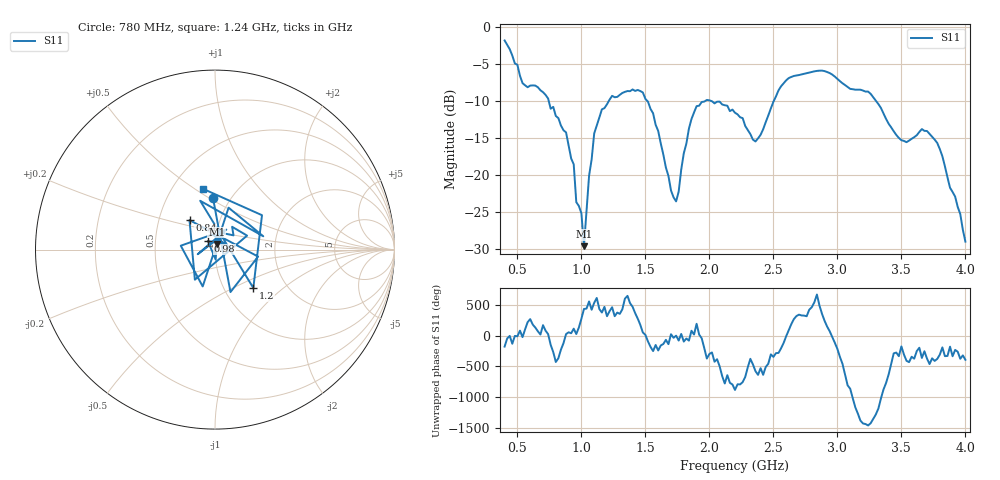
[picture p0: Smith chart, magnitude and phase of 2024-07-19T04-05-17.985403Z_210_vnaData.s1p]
!Created with skrf (http://scikit-rf.org).
# Hz S RI R 50.0
!freq ReS11 ImS11
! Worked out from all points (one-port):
!   181 points, 400 MHz to 4 GHz, reference 50 ohm
!   lowest |S11| = -29.6 dB at 1.02 GHz (marker M1), VSWR 1.07, Z = 50.9 + j3.24 ohm
!   |S11| at or under -10 dB: 745.4 MHz to 1.213 GHz (467.4 MHz wide, 47.7 % of centre); 2.021 GHz to 2.502 GHz (481.1 MHz wide, 21.3 % of centre); 3.304 GHz to end of sweep (the widest 3 of 4)
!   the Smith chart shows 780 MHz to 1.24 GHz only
!   S11 on the Smith chart (normalised r, x): 780 MHz: 0.83, +0.52; 840 MHz: 0.72, +0.25; 980 MHz: 0.92, +0.09; 1.2 GHz: 1.37, -0.64; 1.24 GHz: 0.71, +0.54
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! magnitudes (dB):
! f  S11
! 400 MHz  -1.8
! 540 MHz  -7.5
! 780 MHz  -10.8
! 840 MHz  -13.3
! 860 MHz  -13.9
! 940 MHz  -18.5
! 960 MHz  -23.6
! 980 MHz  -24.1
! 1.02 GHz  -29.6
! 1.06 GHz  -20.0
! 1.1 GHz  -14.3
! 1.2 GHz  -10.4
! 1.24 GHz  -9.3
! 1.3 GHz  -9.1
! 1.48 GHz  -8.8
! 1.6 GHz  -14.0
! 1.7 GHz  -22.0
! 1.76 GHz  -22.2
! 1.84 GHz  -13.7
! 1.9 GHz  -10.7
! 2.2 GHz  -11.5
! 2.36 GHz  -15.4
! 2.66 GHz  -6.6
! 3.1 GHz  -8.3
! 3.24 GHz  -8.7
! 3.56 GHz  -15.3
! 3.78 GHz  -15.6
! 4 GHz  -28.9
